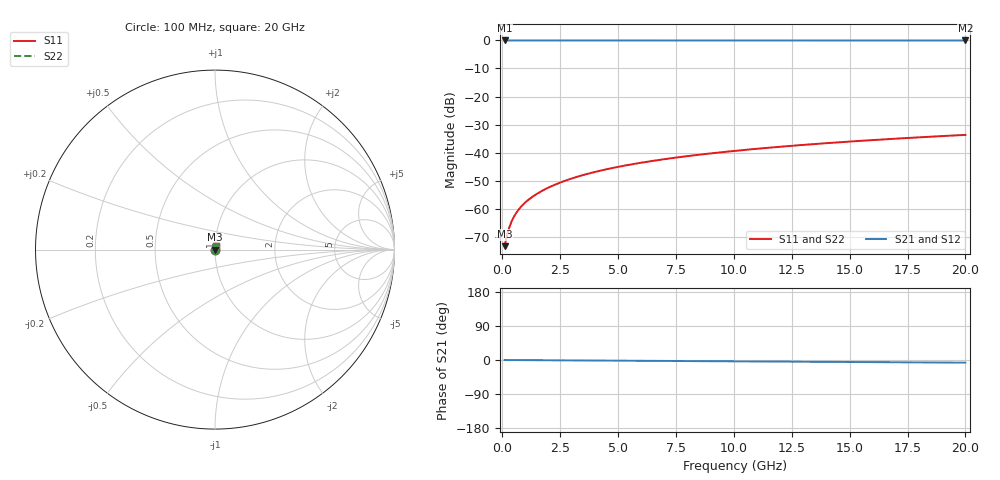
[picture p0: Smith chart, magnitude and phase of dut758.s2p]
! Touchstone file exported from HFSS 2026.1.0
!  File:  C:/ffzhzh/LocalFiles/Ansys_Project_Files/temp_train_TSV_758_1783183180_51560.aedt
!  Generated:  12:41:13 AM Jul  5, 2026
!  Design:  TSV
!  Project:  temp_train_TSV_758_1783183180_51560
! Variables:
!  h_bsmrdl = 2um
!  h_ox = 20um
!  h_rdl = 5um
!  h_sub = 68.07um
!  h_tmrdl = 5um
!  h_tsv = 68.07um
!  h_via = 3um
!  l_bsmrdl = 300um
!  l_sub = 415.9um
!  l_tmrdl = 200um
!  m_sub = 200um
!  pitch = 39.24um
!  r_tsv = 7.95um
!  s_tmrdl = 10um
!  w_bsmrdl = 18um
!  w_sub = 500um
!  w_tmrdl = 12um
!  x_tsv_center1 = 206um
!  x_tsv_center2 = 524um
!  x_tsv_center3 = 736um
!  x_tsv_center4 = 1054um
!  x_tsv_center5 = 1266um
!  x_tsv_center6 = 1584um
# GHz S MA R 50.000000
! Terminal data exported
! Port[1] = TSV1_1_T1
! Port[2] = TSV1_1_T2
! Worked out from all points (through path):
!   200 points, 100 MHz to 20 GHz, reference 50 ohm
!   highest |S21| = 0.00 dB at 100 MHz (marker M1); lowest = 0.0 dB at 20 GHz (marker M2)
!   lowest |S11| = -73.3 dB at 100 MHz (marker M3), VSWR 1.00, Z = 50 + j0.0143 ohm
!   |S11| at or under -10 dB: start of sweep to end of sweep
!   |S22| runs from -73.3 to -33.7 dB; largest |S21 - S12| = 3.7e-15
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0.1  0.000215 41.7  0.9998 -0.0  0.9998 -0.0  0.000215 41.7
! Gamma 0 0 0 0
! Port Impedance 50 0 50 0
0.2  0.0003316 58.9  0.9998 -0.1  0.9998 -0.1  0.0003316 58.9
0.3  0.0004605 66.0  0.9998 -0.1  0.9998 -0.1  0.0004605 66.0
0.4  0.00059 69.5  0.9998 -0.1  0.9998 -0.1  0.0005901 69.5
0.5  0.0007167 71.4  0.9998 -0.2  0.9998 -0.2  0.0007167 71.4
0.6  0.0008396 72.7  0.9998 -0.2  0.9998 -0.2  0.0008396 72.7
0.7  0.0009591 73.5  0.9997 -0.3  0.9997 -0.3  0.0009591 73.5
0.8  0.001075 74.2  0.9997 -0.3  0.9997 -0.3  0.001075 74.2
1  0.001302 75.4  0.9997 -0.4  0.9997 -0.4  0.001302 75.4
1.4  0.00174 77.1  0.9996 -0.5  0.9996 -0.5  0.00174 77.1
1.7  0.002064 78.1  0.9996 -0.6  0.9996 -0.6  0.002064 78.1
2  0.002387 78.8  0.9996 -0.7  0.9996 -0.7  0.002387 78.8
2.7  0.00314 80.1  0.9995 -1.0  0.9995 -1.0  0.00314 80.1
3.5  0.003995 80.8  0.9994 -1.2  0.9994 -1.2  0.003995 80.8
4.2  0.004737 81.2  0.9994 -1.5  0.9994 -1.5  0.004737 81.2
5  0.005577 81.4  0.9993 -1.8  0.9993 -1.8  0.005577 81.4
6.8  0.007442 81.6  0.9992 -2.4  0.9992 -2.4  0.007442 81.6
8.3  0.008979 81.6  0.9991 -2.9  0.9991 -2.9  0.008979 81.6
10.1  0.01081 81.4  0.999 -3.6  0.999 -3.6  0.01081 81.4
13.4  0.01415 80.9  0.9988 -4.7  0.9988 -4.7  0.01415 80.9
16.7  0.01746 80.2  0.9986 -5.9  0.9986 -5.9  0.01745 80.2
20  0.02073 79.3  0.9984 -7.0  0.9984 -7.0  0.02073 79.3
